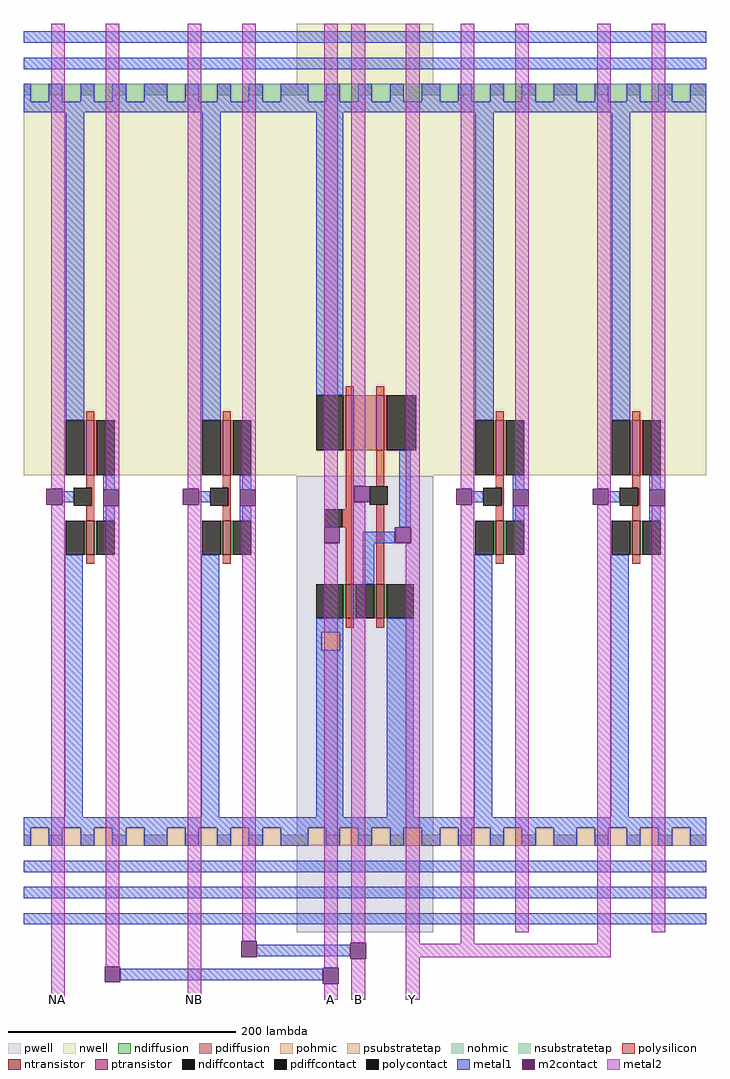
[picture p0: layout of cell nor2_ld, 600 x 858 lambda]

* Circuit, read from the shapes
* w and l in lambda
.subckt nor2_ld A B GND! NA NB Vdd! Y
M1 A NA GND! VSUBS nfet w=30 l=7
M2 B NB GND! VSUBS nfet w=30 l=7
M3 Y A GND! VSUBS nfet w=30 l=7
M4 GND! B Y VSUBS nfet w=30 l=7
M5 inv_0/Y Y GND! VSUBS nfet w=30 l=7
M6 inv_1/Y Y GND! VSUBS nfet w=30 l=7
M7 A NA Vdd! n1 pfet w=48 l=7
M8 B NB Vdd! n1 pfet w=48 l=7
M9 n2 A Vdd! n1 pfet w=48 l=7
M10 Y B n2 n1 pfet w=48 l=7
M11 inv_0/Y Y Vdd! n1 pfet w=48 l=7
M12 inv_1/Y Y Vdd! n1 pfet w=48 l=7
.ends

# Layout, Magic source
magic
tech c035u
<< metal1 >>
rect 205 38 287 48
rect 85 17 263 27
<< m2contact >>
rect 191 37 205 51
rect 287 36 301 50
rect 71 15 85 29
rect 263 14 277 28
<< metal2 >>
rect 24 0 36 59
rect 72 29 84 59
rect 144 0 156 59
rect 192 51 204 59
rect 264 28 276 59
rect 288 50 300 59
rect 336 49 348 59
rect 384 49 396 59
rect 504 49 516 59
rect 336 37 516 49
rect 264 0 276 14
rect 288 0 300 36
rect 336 0 348 37
use inv inv_3
transform 1 0 0 0 1 59
box 0 0 120 799
use inv inv_2
transform 1 0 120 0 1 59
box 0 0 120 799
use nor2 nor2_0
transform 1 0 240 0 1 59
box 0 0 120 799
use inv inv_0
transform 1 0 360 0 1 59
box 0 0 120 799
use inv inv_1
transform 1 0 480 0 1 59
box 0 0 120 799
<< labels >>
rlabel metal2 264 0 276 0 1 A
rlabel metal2 288 0 300 0 1 B
rlabel metal2 24 0 36 0 1 NA
rlabel metal2 144 0 156 0 1 NB
rlabel metal2 336 0 348 0 1 Y
<< end >>

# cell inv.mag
magic
tech c035u
<< nwell >>
rect 0 402 120 746
<< polysilicon >>
rect 55 450 62 458
rect 55 391 62 402
rect 60 375 62 391
rect 55 362 62 375
rect 55 324 62 332
<< ndiffusion >>
rect 53 332 55 362
rect 62 332 64 362
<< pdiffusion >>
rect 53 402 55 450
rect 62 402 64 450
<< pohmic >>
rect 0 76 6 86
rect 22 76 34 86
rect 50 76 62 86
rect 78 76 90 86
rect 106 76 120 86
<< nohmic >>
rect 0 736 6 746
rect 22 736 34 746
rect 50 736 62 746
rect 78 736 90 746
rect 106 736 120 746
<< ntransistor >>
rect 55 332 62 362
<< ptransistor >>
rect 55 402 62 450
<< polycontact >>
rect 44 375 60 391
<< ndiffcontact >>
rect 37 332 53 362
rect 64 332 80 362
<< pdiffcontact >>
rect 37 402 53 450
rect 64 402 80 450
<< psubstratetap >>
rect 6 76 22 92
rect 34 76 50 92
rect 62 76 78 92
rect 90 76 106 92
<< nsubstratetap >>
rect 6 730 22 746
rect 34 730 50 746
rect 62 730 78 746
rect 90 730 106 746
<< metal1 >>
rect 0 782 120 792
rect 0 759 120 769
rect 0 730 6 746
rect 22 730 34 746
rect 50 730 62 746
rect 78 730 90 746
rect 106 730 120 746
rect 0 721 120 730
rect 37 450 53 721
rect 34 378 44 388
rect 70 389 80 402
rect 70 362 80 375
rect 36 101 52 332
rect 0 92 120 101
rect 0 76 6 92
rect 22 76 34 92
rect 50 76 62 92
rect 78 76 90 92
rect 106 76 120 92
rect 0 53 120 63
rect 0 30 120 40
rect 0 7 120 17
<< m2contact >>
rect 20 376 34 390
rect 70 375 84 389
<< metal2 >>
rect 24 390 36 799
rect 34 376 36 390
rect 72 389 84 799
rect 24 0 36 376
rect 72 0 84 375
<< labels >>
rlabel metal1 0 721 0 746 7 Vdd!
rlabel metal1 0 759 0 769 7 Scan
rlabel metal1 0 782 0 792 6 ScanReturn
rlabel metal1 120 721 120 746 7 Vdd!
rlabel metal1 120 759 120 769 7 Scan
rlabel metal1 120 782 120 792 6 ScanReturn
rlabel metal2 24 799 36 799 5 A
rlabel metal2 72 799 84 799 5 Y
rlabel metal1 0 76 0 101 7 GND!
rlabel metal1 0 53 0 63 7 Clock
rlabel metal1 0 30 0 40 7 Test
rlabel metal1 0 7 0 17 8 nReset
rlabel metal1 120 7 120 17 8 nReset
rlabel metal1 120 30 120 40 7 Test
rlabel metal1 120 53 120 63 7 Clock
rlabel metal1 120 76 120 101 7 GND!
rlabel metal2 24 0 36 0 1 A
rlabel metal2 72 0 84 0 1 Y
<< end >>

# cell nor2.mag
magic
tech c035u
<< nwell >>
rect 0 401 120 799
<< pwell >>
rect 0 0 120 401
<< polysilicon >>
rect 43 472 50 480
rect 70 472 77 480
rect 43 372 50 424
rect 70 392 77 424
rect 40 356 50 372
rect 43 306 50 356
rect 70 306 77 376
rect 43 268 50 276
rect 70 268 77 276
<< ndiffusion >>
rect 41 276 43 306
rect 50 276 52 306
rect 68 276 70 306
rect 77 276 79 306
<< pdiffusion >>
rect 41 424 43 472
rect 50 424 70 472
rect 77 424 79 472
<< pohmic >>
rect 0 76 10 86
rect 26 76 38 86
rect 54 76 66 86
rect 82 76 94 86
rect 110 76 120 86
<< nohmic >>
rect 0 736 10 746
rect 26 736 38 746
rect 54 736 66 746
rect 82 736 94 746
rect 110 736 120 746
<< ntransistor >>
rect 43 276 50 306
rect 70 276 77 306
<< ptransistor >>
rect 43 424 50 472
rect 70 424 77 472
<< polycontact >>
rect 64 376 80 392
rect 24 356 40 372
<< ndiffcontact >>
rect 17 276 41 306
rect 52 276 68 306
rect 79 276 103 306
<< pdiffcontact >>
rect 17 424 41 472
rect 79 424 105 472
<< psubstratetap >>
rect 22 248 38 264
rect 10 76 26 92
rect 38 76 54 92
rect 66 76 82 92
rect 94 76 110 92
<< nsubstratetap >>
rect 10 730 26 746
rect 38 730 54 746
rect 66 730 82 746
rect 94 730 110 746
<< metal1 >>
rect 0 782 120 792
rect 0 759 120 769
rect 0 730 10 746
rect 26 730 38 746
rect 54 730 66 746
rect 82 730 94 746
rect 110 730 120 746
rect 0 721 120 730
rect 17 472 41 721
rect 90 356 100 424
rect 58 342 86 352
rect 58 306 68 342
rect 17 264 41 276
rect 17 248 22 264
rect 38 248 41 264
rect 17 101 41 248
rect 79 101 103 276
rect 0 92 120 101
rect 0 76 10 92
rect 26 76 38 92
rect 54 76 66 92
rect 82 76 94 92
rect 110 76 120 92
rect 0 53 120 63
rect 0 30 120 40
rect 0 7 120 17
<< m2contact >>
rect 50 378 64 392
rect 24 342 38 356
rect 86 342 100 356
<< metal2 >>
rect 24 356 36 799
rect 48 392 60 799
rect 48 378 50 392
rect 24 0 36 342
rect 48 0 60 378
rect 96 356 108 799
rect 100 342 108 356
rect 96 0 108 342
<< labels >>
rlabel metal1 0 721 0 746 3 Vdd!
rlabel metal1 0 782 0 792 3 ScanReturn
rlabel metal1 0 759 0 769 3 Scan
rlabel metal1 120 721 120 746 1 Vdd!
rlabel metal1 120 759 120 769 1 Scan
rlabel metal1 120 782 120 792 1 ScanReturn
rlabel metal1 0 7 0 17 3 nReset
rlabel metal1 0 30 0 40 3 Test
rlabel metal1 0 53 0 63 3 Clock
rlabel metal1 0 76 0 101 3 GND!
rlabel metal1 120 7 120 17 7 nReset
rlabel metal1 120 30 120 40 7 Test
rlabel metal1 120 53 120 63 7 Clock
rlabel metal1 120 76 120 101 7 GND!
rlabel metal2 24 0 36 0 1 A
rlabel metal2 48 0 60 0 1 B
rlabel metal2 24 799 36 799 5 A
rlabel metal2 48 799 60 799 5 B
rlabel metal2 96 0 108 0 1 Y
rlabel metal2 96 799 108 799 5 Y
<< end >>
